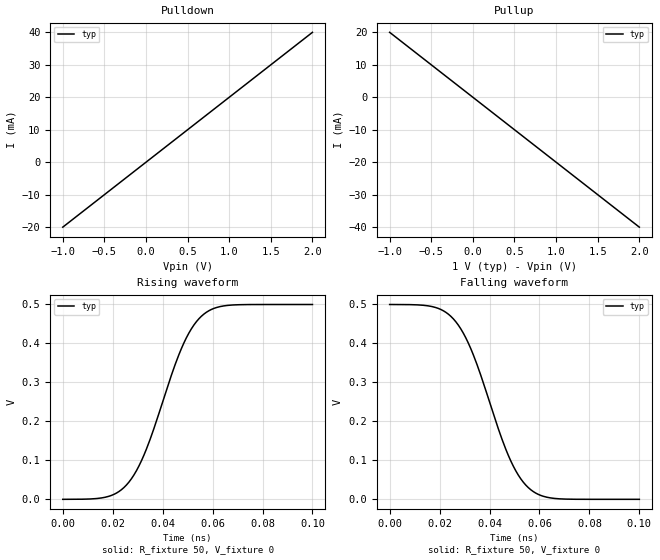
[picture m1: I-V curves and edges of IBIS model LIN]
[IBIS Ver] 4.2
[File Name] essai.ibs
[Component] ESSAI
[Pin] signal_name model_name R_pin L_pin C_pin
A1 SIG LIN
A2 SIG2 LIN
[Package Model] PKG_S
[Define Package Model] PKG_S
[Number Of Sections] 3
[Number Of Pins] 2
[Pin Numbers]
A1 Len = 0 L=0.5n /
   Len = 10 L=0.25n C=0.1p /
   Len = 0 C=0.2p /
A2 Len = 10 L=0.25n C=0.1p /
   Fork
   Len = 2 L=0.25n C=0.1p /
   Endfork
   Len = 0 L=1n /
[End Package Model]
| Models and submodels in the file (1): LIN (I/O)
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[Model] LIN
Model_type I/O
C_comp 0p 0p 0p
[Voltage Range] 1 1 1
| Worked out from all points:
|   slope of the pulldown table from 0 to 0.15 V, typ, clamps not added: 50 ohm
|   slope of the pullup table from 0 to 0.15 V, typ, clamps not added: 50 ohm
|   rising waveform, R_fixture 50, V_fixture 0: 20-80 % time 16.8ps typ, NA min, NA max; typ from 0 V to 0.5 V
|   falling waveform, R_fixture 50, V_fixture 0: 20-80 % time 16.8ps typ, NA min, NA max; typ from 0.5 V to 0 V
[Pulldown]
-1V       -20mA      NA         NA
-500mV    -10mA      NA         NA
0V        0A         NA         NA
500mV     10mA       NA         NA
1V        20mA       NA         NA
1.5V      30mA       NA         NA
2V        40mA       NA         NA
[Pullup]
-1V       20mA       NA         NA
-500mV    10mA       NA         NA
0V        0A         NA         NA
500mV     -10mA      NA         NA
1V        -20mA      NA         NA
1.5V      -30mA      NA         NA
2V        -40mA      NA         NA
[Rising Waveform]
R_fixture = 50
V_fixture = 0
0s        15.84uV    NA         NA
18ps      6.952mV    NA         NA
23ps      22.28mV    NA         NA
27ps      48.4mV     NA         NA
34ps      137.1mV    NA         NA
48ps      394.1mV    NA         NA
52ps      442.5mV    NA         NA
56.5ps    475.3mV    NA         NA
66.5ps    498mV      NA         NA
100ps     500mV      NA         NA
[Falling Waveform]
R_fixture = 50
V_fixture = 0
0s        500mV      NA         NA
18ps      493mV      NA         NA
23ps      477.7mV    NA         NA
27ps      451.6mV    NA         NA
34ps      362.9mV    NA         NA
48ps      105.9mV    NA         NA
52ps      57.53mV    NA         NA
56.5ps    24.74mV    NA         NA
66.5ps    2.012mV    NA         NA
100ps     493.3pV    NA         NA
